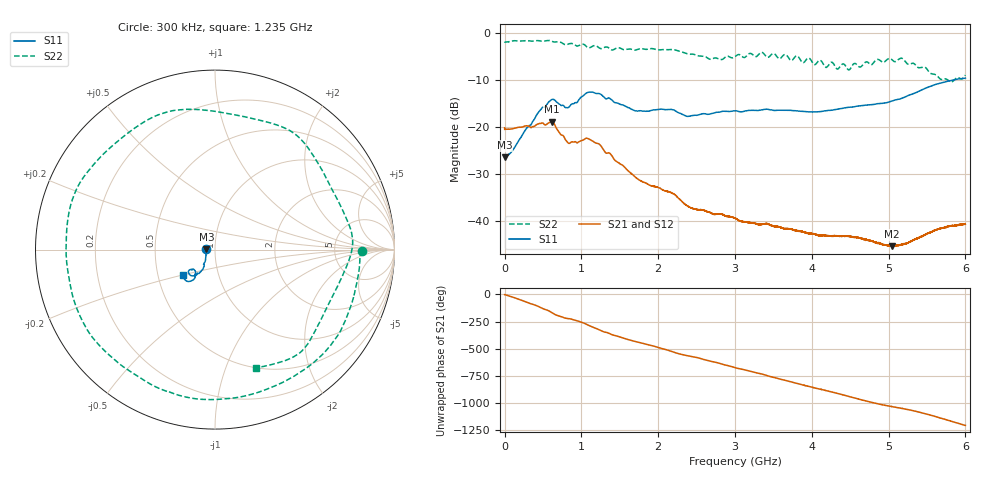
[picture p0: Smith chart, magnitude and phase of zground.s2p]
!  8/12/2020  02:54:47
! Ref Plane: 0.000 mm
# MHZ S MA R  50
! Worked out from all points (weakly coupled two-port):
!   10001 points, 300 kHz to 6 GHz, reference 50 ohm
!   highest |S21| = -18.85 dB at 611.7 MHz (marker M1); lowest = -45.4 dB at 5.039 GHz (marker M2)
!   lowest |S11| = -26.4 dB at 900 kHz (marker M3), VSWR 1.10, Z = 45.4 + j0.0948 ohm
!   |S11| at or under -10 dB: start of sweep to 5.824 GHz
!   |S22| runs from -10.3 to -1.5 dB; largest |S21 - S12| = 0.002
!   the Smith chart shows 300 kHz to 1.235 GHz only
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0.3  0.04801 177.6  0.09852 -1.2  0.09684 -1.0  0.8173 -0.5
0.9  0.0477 178.8  0.0946 -0.7  0.09557 -0.5  0.8103 -0.8
287.0857  0.09787 -128.5  0.1037 -71.6  0.1037 -71.5  0.8376 -99.2
611.6694  0.1969 -132.4  0.1142 -165.2  0.114 -164.9  0.828 146.5
778.4611  0.1661 -139.3  0.0776 144.1  0.07754 144.4  0.7644 86.7
1000.45  0.2102 -126.1  0.07192 104.3  0.07178 104.6  0.764 8.6
1289.636  0.2109 -144.6  0.05726 16.2  0.0571 16.4  0.7037 -92.8
1526.024  0.1737 -141.4  0.03979 -37.2  0.03969 -37.0  0.6844 -171.5
1769.611  0.1501 -129.7  0.02695 -85.5  0.02692 -85.3  0.6886 102.4
2000.6  0.1546 -121.0  0.02276 -128.7  0.02273 -128.5  0.6681 26.2
2320.984  0.1364 -114.8  0.01576 164.0  0.01573 164.1  0.6315 -74.6
2599.37  0.1394 -98.5  0.01296 119.2  0.01293 119.0  0.5705 -172.9
3000.15  0.1498 -84.8  0.01068 45.6  0.01071 45.9  0.5653 34.9
3361.932  0.1537 -73.1  0.009258 -16.0  0.009225 -15.8  0.6233 -76.3
3655.917  0.1519 -64.2  0.008239 -72.3  0.008225 -72.1  0.5965 -171.7
4000.3  0.1452 -50.5  0.007358 -134.7  0.007313 -133.9  0.5035 78.1
4422.679  0.1605 -31.5  0.006906 151.5  0.006859 152.1  0.4685 -74.0
4707.665  0.1722 -21.9  0.006312 97.5  0.006243 98.0  0.4978 -178.9
5000.45  0.1853 -11.3  0.005512 51.8  0.005441 51.8  0.5396 89.3
5038.848  0.1898 -10.0  0.005392 46.5  0.005419 46.8  0.5295 81.5
5551.822  0.2742 1.4  0.007635 -33.9  0.007607 -33.8  0.3734 -78.3
6000  0.3337 -6.5  0.009225 -127.8  0.009254 -127.7  0.3599 98.9
